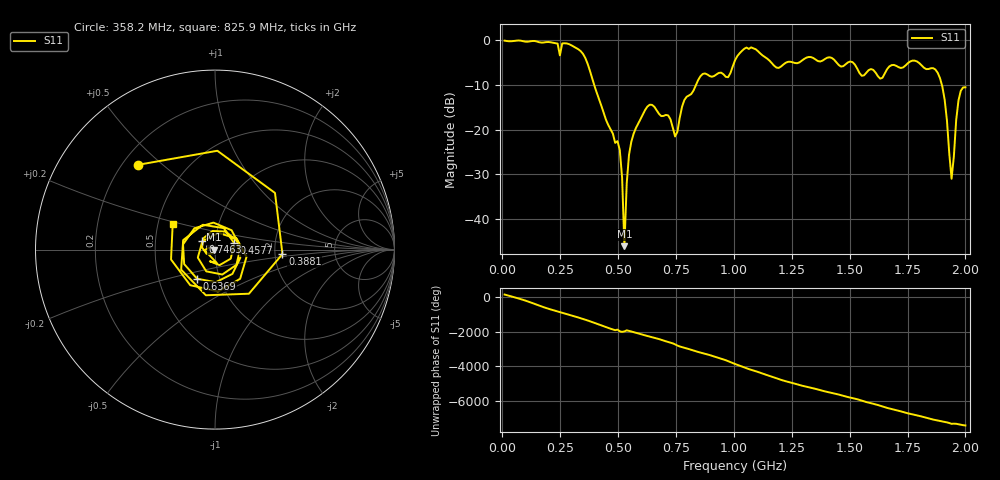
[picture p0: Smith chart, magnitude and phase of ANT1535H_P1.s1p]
!Created with skrf (http://scikit-rf.org).
# Hz S RI R 50.0
!freq ReS11 ImS11
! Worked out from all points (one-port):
!   201 points, 10 MHz to 2 GHz, reference 50 ohm
!   lowest |S11| = -46.1 dB at 527.4 MHz (marker M1), VSWR 1.01, Z = 49.5 + j0.0472 ohm
!   |S11| at or under -10 dB: 397.1 MHz to 836.3 MHz (439.2 MHz wide, 71.2 % of centre); 1.899 GHz to end of sweep
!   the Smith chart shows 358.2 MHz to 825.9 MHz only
!   S11 on the Smith chart (normalised r, x): 358.2 MHz: 0.26, +0.42; 388.1 MHz: 2.20, -0.13; 457.8 MHz: 1.24, +0.09; 636.9 MHz: 0.78, -0.26; 746.3 MHz: 0.86, +0.08; 825.9 MHz: 0.60, +0.18
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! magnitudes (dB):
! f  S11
! 10 MHz  0.0
! 248.8 MHz  -3.4
! 258.8 MHz  -0.7
! 358.2 MHz  -3.9
! 388.1 MHz  -8.5
! 457.8 MHz  -19.0
! 507.5 MHz  -24.6
! 517.5 MHz  -30.8
! 527.4 MHz  -46.1
! 537.4 MHz  -32.0
! 557.2 MHz  -22.7
! 636.9 MHz  -14.4
! 716.5 MHz  -16.8
! 746.3 MHz  -21.5
! 756.2 MHz  -20.5
! 786.1 MHz  -13.4
! 825.9 MHz  -11.2
! 1.005 GHz  -4.5
! 1.075 GHz  -1.5
! 1.254 GHz  -4.9
! 1.502 GHz  -4.7
! 1.632 GHz  -8.6
! 1.751 GHz  -5.1
! 1.891 GHz  -8.5
! 1.91 GHz  -13.3
! 1.94 GHz  -31.0
! 1.97 GHz  -13.4
! 2 GHz  -10.5
